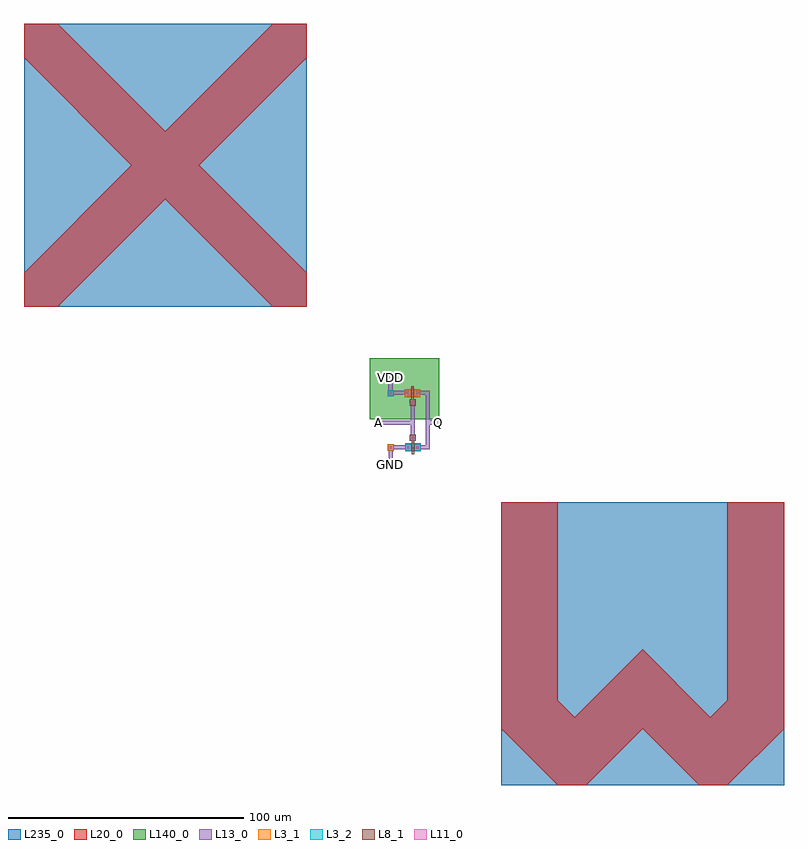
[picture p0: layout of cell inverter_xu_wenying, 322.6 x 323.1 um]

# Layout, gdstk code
from math import pi, radians
import gdstk
lib = gdstk.Library(unit=1e-6, precision=1e-07)
def R(c, l, rs):  # rectangles x0, y0, x1, y1
    for r in rs: c.add(gdstk.rectangle(r[:2], r[2:], *l))
def P(c, l, *ps):  # polygons
    for p in ps: c.add(gdstk.Polygon(p, *l))
L3_1 = (3, 1)
L3_2 = (3, 2)
L8_1 = (8, 1)
L11_0 = (11, 0)
L13_0 = (13, 0)
L20_0 = (20, 0)
L140_0 = (140, 0)
L235_0 = (235, 0)

fet_p = lib.new_cell('fet_p')
R(fet_p, L3_1, [(-3.3,-1.7,3.3,1.7)])
R(fet_p, L11_0, [(-2.5,-0.5,-1.5,0.5), (1.5,-0.5,2.5,0.5)])
R(fet_p, L13_0, [(-3.3,-1.3,-0.7,1.3), (0.7,-1.3,3.3,1.3)])
fet_p.add(gdstk.FlexPath([(0,-2.9),(0,2.9)], 1, ends="flush", simple_path=True, layer=8, datatype=1))  # L8_1

fet_n = lib.new_cell('fet_n')
R(fet_n, L3_2, [(-3.3,-1.7,3.3,1.7)])
R(fet_n, L11_0, [(-2.5,-0.5,-1.5,0.5), (1.5,-0.5,2.5,0.5)])
R(fet_n, L13_0, [(-3.3,-1.3,-0.7,1.3), (0.7,-1.3,3.3,1.3)])
fet_n.add(gdstk.FlexPath([(0,-2.9),(0,2.9)], 1, ends="flush", simple_path=True, layer=8, datatype=1))  # L8_1

cont_p = lib.new_cell('cont_p')
R(cont_p, L3_1, [(-1.3,-1.3,1.3,1.3)])
R(cont_p, L11_0, [(-0.5,-0.5,0.5,0.5)])
R(cont_p, L13_0, [(-1.3,-1.3,1.3,1.3)])

cont_n = lib.new_cell('cont_n')
R(cont_n, L3_2, [(-1.3,-1.3,1.3,1.3)])
R(cont_n, L11_0, [(-0.5,-0.5,0.5,0.5)])
R(cont_n, L13_0, [(-1.3,-1.3,1.3,1.3)])

cont_g = lib.new_cell('cont_g')
R(cont_g, L8_1, [(-1.3,-1.3,1.3,1.3)])
R(cont_g, L11_0, [(-0.5,-0.5,0.5,0.5)])
R(cont_g, L13_0, [(-1.3,-1.3,1.3,1.3)])

c_x = lib.new_cell('X')
P(c_x, L20_0, [(0,0),(0,3.6),(11.4,15),(0,26.4),(0,30),(3.6,30),(15,18.6),(26.4,30),(30,30),(30,26.4),(18.6,15),(30,3.6),(30,0),(26.4,0),(15,11.4),(3.6,0)])
R(c_x, L235_0, [(0,0,30,30)])

c_w = lib.new_cell('W')
P(c_w, L20_0, [(6,0),(0,6),(0,30),(6,30),(6,9),(7.8,7.2),(15,14.4),(22.2,7.2),(24,9),(24,30),(30,30),(30,6),(24,0),(21,0),(15,6),(9,0)])
R(c_w, L235_0, [(0,0,30,30)])

inverter_xu_wenying = lib.new_cell('inverter_xu_wenying')
R(inverter_xu_wenying, L140_0, [(-27.7,-18.2,1.8,7.7)])
inverter_xu_wenying.add(gdstk.FlexPath([(-11.2,-7),(-18.9,-7),(-18.9,-0.1),(-18.9,-0.1)], 1.8, ends="flush", simple_path=True, layer=13, datatype=0))  # L13_0
inverter_xu_wenying.add(gdstk.FlexPath([(-8.2,-7),(-3.1,-7),(-3.1,-30.1),(-8.2,-30.1)], 1.8, ends="flush", simple_path=True, layer=13, datatype=0))  # L13_0
inverter_xu_wenying.add(gdstk.FlexPath([(-10.9,-30.1),(-18.8,-30.1),(-18.8,-37.8)], 1.8, ends="flush", simple_path=True, layer=13, datatype=0))  # L13_0
inverter_xu_wenying.add(gdstk.FlexPath([(-9.5,-11.1),(-9.5,-26.8)], 1.8, ends="flush", simple_path=True, layer=13, datatype=0))  # L13_0
inverter_xu_wenying.add(gdstk.FlexPath([(-9.8,-19.7),(-24.3,-19.7)], 1.8, ends="flush", simple_path=True, layer=13, datatype=0))  # L13_0
inverter_xu_wenying.add(gdstk.FlexPath([(-4,-19.6),(2.2,-19.6)], 1.8, ends="flush", simple_path=True, layer=13, datatype=0))  # L13_0
inverter_xu_wenying.add(gdstk.Reference(fet_p, (-9.6,-7.1), rotation=pi))
inverter_xu_wenying.add(gdstk.Reference(fet_n, (-9.4,-30.2), rotation=pi))
inverter_xu_wenying.add(gdstk.Reference(cont_p, (-18.8,-30.2), rotation=pi/2))
inverter_xu_wenying.add(gdstk.Reference(cont_n, (-18.9,-7.1), rotation=pi/2))
inverter_xu_wenying.add(gdstk.Reference(cont_g, (-9.5,-26.1), rotation=pi/2))
inverter_xu_wenying.add(gdstk.Reference(cont_g, (-9.5,-11.1), rotation=pi/2))
inverter_xu_wenying.add(gdstk.Reference(c_x, (-54.5,29.6), rotation=pi/2, magnification=4))
inverter_xu_wenying.add(gdstk.Reference(c_w, (28.1,-173.5), magnification=4))
inverter_xu_wenying.add(gdstk.Label('Q', (1.5,-19.6), layer=48, texttype=0))
inverter_xu_wenying.add(gdstk.Label('GND', (-18.8,-37.6), layer=48, texttype=0))
inverter_xu_wenying.add(gdstk.Label('VDD', (-18.8,-0.6), layer=48, texttype=0))
inverter_xu_wenying.add(gdstk.Label('A', (-24,-19.7), layer=48, texttype=0))

lib.write_gds('inverter_xu_wenying.gds')
